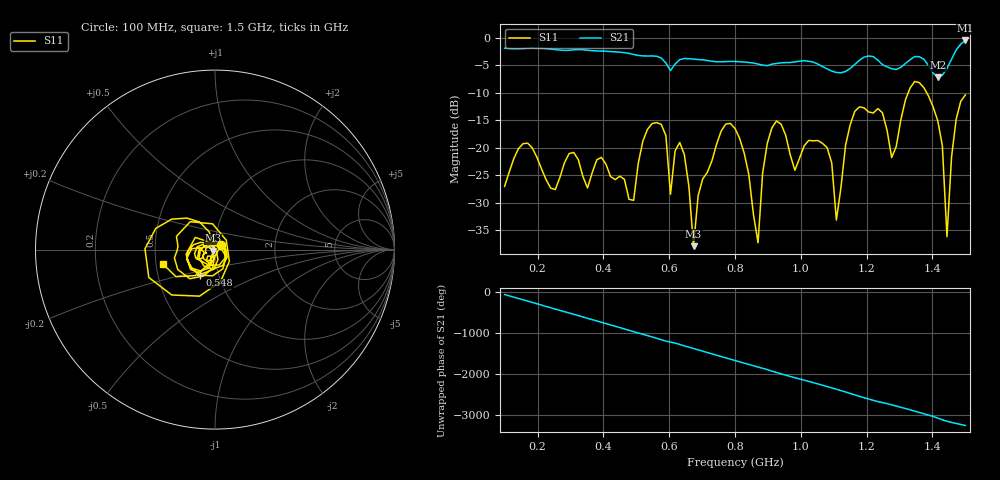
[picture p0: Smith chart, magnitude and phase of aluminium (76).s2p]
! NanoVNA-App
! Date: 2025-09-26 09:58:39
! Start: 100MHz Stop: 1,5GHz Points: 101
! S-Parameter data: F S11 S21 S12 S22
# Hz S RI R 50
!  Frequency  S11_Real  S11_Imag  S21_Real  S21_Imag  S12_Real  S12_Imag  S22_Real  S22_Imag
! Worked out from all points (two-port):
!   101 points, 100 MHz to 1.5 GHz, reference 50 ohm
!   highest |S21| = -0.51 dB at 1.5 GHz (marker M1); lowest = -7.2 dB at 1.416 GHz (marker M2)
!   |S21| within 3 dB of the highest: start of sweep to 567.6 MHz; 1.461 GHz to end of sweep (the widest 2 of 4)
!   lowest |S11| = -37.9 dB at 674 MHz (marker M3), VSWR 1.03, Z = 48.9 - j0.644 ohm
!   |S11| at or under -10 dB: start of sweep to 1.326 GHz; 1.382 GHz to end of sweep
!   S12 and S22 are empty: the file has one direction only
!   S11 on the Smith chart (normalised r, x): 100 MHz: 1.07, +0.06; 548 MHz: 0.81, -0.24; 1.5 GHz: 0.54, -0.09
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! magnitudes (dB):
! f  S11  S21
! 100 MHz  -27.0  -1.9
! 338 MHz  -25.2  -2.2
! 492 MHz  -29.5  -3.1
! 548 MHz  -15.6  -3.3
! 576 MHz  -15.8  -3.7
! 604 MHz  -28.4  -6.0
! 646 MHz  -21.2  -3.8
! 674 MHz  -37.9  -3.9
! 702 MHz  -25.6  -4.0
! 800 MHz  -16.5  -4.3
! 870 MHz  -37.2  -4.8
! 912 MHz  -16.4  -4.8
! 1.038 GHz  -18.7  -4.4
! 1.094 GHz  -22.8  -6.1
! 1.108 GHz  -33.1  -6.3
! 1.164 GHz  -13.4  -4.9
! 1.276 GHz  -21.8  -5.6
! 1.346 GHz  -8.0  -3.4
! 1.416 GHz  -15.1  -7.2
! 1.444 GHz  -36.1  -5.6
! 1.472 GHz  -14.8  -2.2
! 1.5 GHz  -10.4  -0.5
